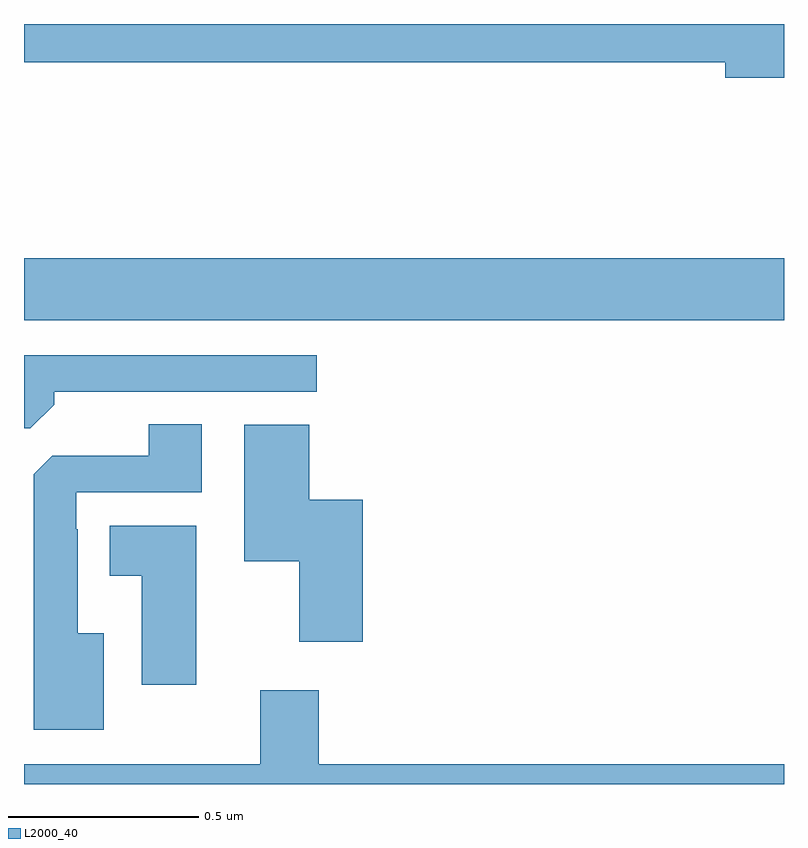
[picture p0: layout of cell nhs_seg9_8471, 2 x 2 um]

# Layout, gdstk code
import gdstk
lib = gdstk.Library(unit=1e-6, precision=1e-09)
def R(c, l, rs):  # rectangles x0, y0, x1, y1
    for r in rs: c.add(gdstk.rectangle(r[:2], r[2:], *l))
def P(c, l, *ps):  # polygons
    for p in ps: c.add(gdstk.Polygon(p, *l))
L2000_40 = (2000, 40)

nhs_seg9_8471 = lib.new_cell('nhs_seg9_8471')
R(nhs_seg9_8471, L2000_40, [(217,1229.72,219,1229.884)])
P(nhs_seg9_8471, L2000_40, [(219,1230.5),(217,1230.5),(217,1230.4),(218.846,1230.4),(218.846,1230.358),(219,1230.358)],
  [(217.079,1229.498),(217.079,1229.532),(217.771,1229.532),(217.771,1229.628),(217,1229.628),(217,1229.436),(217.017,1229.436)],
  [(217.21,1228.897),(217.141,1228.897),(217.141,1229.171),(217.137,1229.171),(217.137,1229.268),(217.468,1229.268),(217.468,1229.447),(217.328,1229.447),(217.328,1229.364),(217.074,1229.364),(217.025,1229.315),(217.025,1228.643),(217.21,1228.643)],
  [(217.892,1229.248),(217.751,1229.248),(217.751,1229.446),(217.58,1229.446),(217.58,1229.086),(217.724,1229.086),(217.724,1228.875),(217.892,1228.875)],
  [(217.453,1229.179),(217.226,1229.179),(217.226,1229.048),(217.31,1229.048),(217.31,1228.761),(217.453,1228.761)],
  [(219,1228.552),(217.775,1228.552),(217.775,1228.747),(217.622,1228.747),(217.622,1228.552),(217,1228.552),(217,1228.5),(219,1228.5)])

lib.write_gds('nhs_seg9_8471.gds')
